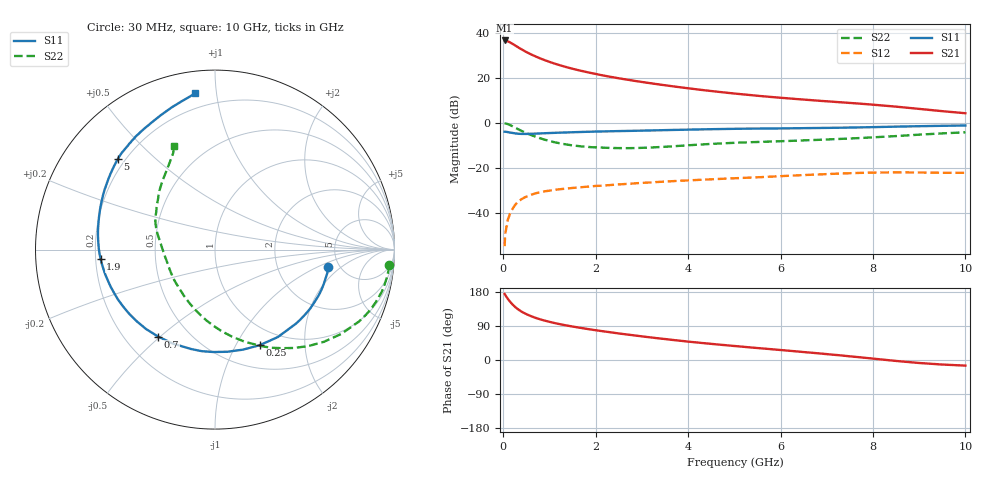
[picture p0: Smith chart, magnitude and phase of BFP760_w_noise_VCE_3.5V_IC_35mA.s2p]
! Infineon Technologies  Discrete & RF Semiconductors
! BFP760
! VCE =  3.5 V,  IC =  35 mA
! Common Emitter S-Parameters:  Nov 2012
# GHz  S  MA  R  50
!  f  S11  S21  S12  S22
! GHz  MAG  ANG  MAG  ANG  MAG  ANG  MAG  ANG
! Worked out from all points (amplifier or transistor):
!   99 points, 30 MHz to 10 GHz, reference 50 ohm
!   highest |S21| = 36.8 dB at 30 MHz (marker M1)
!   |S21| within 3 dB of that: start of sweep to 318.6 MHz
!   unconditionally stable (mu >= 1): 4.092 GHz to end of sweep
!   at 350 MHz: K = 0.31, MSG = 34.0 dB, |S12| = -34.6 dB
!   at 3.5 GHz: K = 0.95, MSG = 21.5 dB, |S12| = -26.1 dB
!   at 10 GHz: K = 1.06, MAG = 11.8 dB, |S12| = -22.2 dB
!   lowest NFmin = 0.83 dB at 900 MHz
!   S11 on the Smith chart (normalised r, x): 30 MHz: 4.06, -1.35; 250 MHz: 0.77, -1.26; 700 MHz: 0.34, -0.49; 1.9 GHz: 0.22, -0.04; 5 GHz: 0.17, +0.38; 10 GHz: 0.11, +0.88
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0.03  0.6387 -8.9  68.95 174.2  0.0018 77.3  0.9729 -5.1
0.07  0.6339 -20.7  67.87 166.5  0.005 75.3  0.9625 -12.6
0.13  0.6172 -37.1  63.72 156.6  0.0084 73.5  0.9169 -23.2
0.15  0.6114 -42.4  62.23 153.5  0.0098 70.4  0.897 -26.5
0.2  0.6 -54.3  58.04 146.8  0.0121 67.1  0.8456 -33.8
0.25  0.588 -64.9  54.06 140.8  0.0146 64.7  0.7946 -40.3
0.35  0.5733 -83.1  46.62 131.4  0.0186 57.8  0.7032 -51.2
0.45  0.5707 -97.4  40.67 124.1  0.0216 53.0  0.6287 -60.4
0.6  0.5741 -114.4  33.86 115.7  0.0251 47.5  0.5403 -72.0
0.7  0.5789 -123.2  30.36 111.2  0.0271 44.8  0.4944 -78.9
0.9  0.5912 -137.4  25.05 103.8  0.03 41.0  0.4238 -91.3
1.1  0.6021 -148.2  21.21 97.8  0.0322 38.5  0.3745 -102.2
1.4  0.6171 -160.5  17.18 90.5  0.0348 36.3  0.3282 -116.3
1.7  0.6307 -170.1  14.41 84.2  0.0372 35.2  0.2998 -128.7
1.9  0.6395 -175.4  12.99 80.4  0.0387 34.5  0.2891 -136.4
2.6  0.6625 169.5  9.518 68.5  0.0434 33.2  0.2751 -159.0
3.4  0.6891 155.8  7.154 56.6  0.0488 32.0  0.2914 -179.7
5  0.7407 136.9  4.536 37.0  0.0586 29.2  0.3612 156.5
5.1  0.7431 136.1  4.431 35.9  0.0592 28.9  0.365 155.5
6.7  0.7712 124.3  3.204 18.9  0.0705 24.5  0.4168 140.3
8.5  0.8289 106.8  2.31 -2.5  0.0794 13.8  0.5105 122.4
10  0.8786 97.2  1.648 -14.8  0.0776 9.0  0.6198 111.7
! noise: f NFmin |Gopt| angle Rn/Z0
0.9  0.83  0.2  -166  0.09
1.8  0.88  0.21  -158  0.07
2.4  0.92  0.22  -148  0.08
3.5  1.04  0.22  -138  0.13
5.5  1.28  0.29  -90  0.41
8  1.54  0.41  -68  0.48
